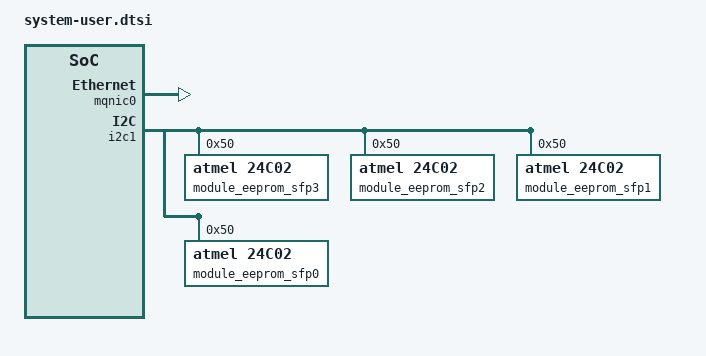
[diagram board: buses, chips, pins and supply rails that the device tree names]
/include/ "system-conf.dtsi"

/ {
	/delete-node/ m_axil_ctrl@a0000000;
	/delete-node/ m_axil_app_ctrl@a8000000;

	mqnic0: ethernet@a0000000 {
		compatible = "corundum,mqnic";
		reg = <0x0 0xa0000000 0x0 0x1000000>,
		      <0x0 0xa8000000 0x0 0x1000000>;
		reg-names = "csr", "app";
		interrupt-parent = <&gic>;
		interrupts = <0x0 0x59 0x1>, <0x0 0x5a 0x1>, <0x0 0x5b 0x1>,
			     <0x0 0x5c 0x1>;

		nvmem-cells = <&macaddress>;
		nvmem-cell-names = "mac-address";

		/* NOTE: The nvmem-cells property provides us with a base MAC
		 * address. We increment its last byte (default) by 0x1. And we
		 * mark the derived address as "locally administrated". The
		 * result is used to derive MAC addresses for mqnic interfaces.
		 */
		mac-address-increment = <0x1>;
		mac-address-local;

		module-eeproms = <&module_eeprom_sfp0>, <&module_eeprom_sfp1>,
				<&module_eeprom_sfp2>, <&module_eeprom_sfp3>;
	};
};

&eeprom {
		#address-cells = <1>;
		#size-cells = <1>;

		macaddress: macaddress@20 {
			/* NOTE: On Xilinx Zynq boards there usually is an
			 * EEPROM with a MAC address for one of the PS GEMs at
			 * offset 0x20. So we take that address as our base
			 * address.
			 */
			reg = <0x20 0x06>;
		};
};

&i2c1 {
	i2c-mux@75 {
		i2c@4 {
			module_eeprom_sfp3: eeprom@50 {
				compatible = "atmel,24c02";
				reg = <0x50>;
			};
		};
		i2c@5 {
			module_eeprom_sfp2: eeprom@50 {
				compatible = "atmel,24c02";
				reg = <0x50>;
			};
		};
		i2c@6 {
			module_eeprom_sfp1: eeprom@50 {
				compatible = "atmel,24c02";
				reg = <0x50>;
			};
		};
		i2c@7 {
			module_eeprom_sfp0: eeprom@50 {
				compatible = "atmel,24c02";
				reg = <0x50>;
			};
		};
	};
};

/* USER SI570 (U42) */
&si570_1 {
	clock-frequency = <300000000>;
};

/* USER MGT SI570 (U56) */
&si570_2 {
	clock-frequency = <156250000>;
};
